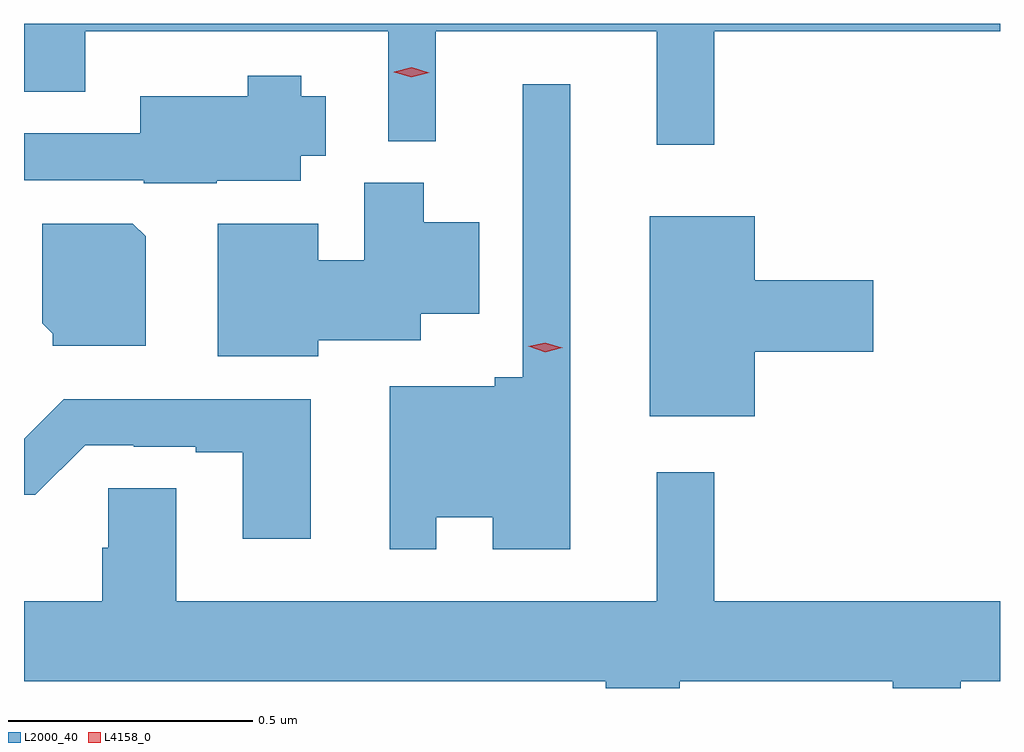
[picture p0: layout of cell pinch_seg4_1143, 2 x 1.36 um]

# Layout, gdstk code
import gdstk
lib = gdstk.Library(unit=1e-6, precision=1e-09)
def P(c, l, *ps):  # polygons
    for p in ps: c.add(gdstk.Polygon(p, *l))
L2000_40 = (2000, 40)
L4158_0 = (4158, 0)

pinch_seg4_1143 = lib.new_cell('pinch_seg4_1143')
P(pinch_seg4_1143, L2000_40, [(486.559,832.66),(486.685,832.66),(486.685,832.784),(487.305,832.784),(487.305,832.559),(487.403,832.559),(487.403,832.784),(487.856,832.784),(487.856,832.551),(487.973,832.551),(487.973,832.784),(488.559,832.784),(488.559,832.799),(486.559,832.799)],
  [(486.954,832.478),(487.126,832.478),(487.126,832.529),(487.177,832.529),(487.177,832.651),(487.127,832.651),(487.127,832.693),(487.017,832.693),(487.017,832.651),(486.797,832.651),(486.797,832.575),(486.559,832.575),(486.559,832.479),(486.804,832.479),(486.804,832.472),(486.954,832.472)],
  [(487.404,831.788),(487.52,831.788),(487.52,831.723),(487.678,831.723),(487.678,832.675),(487.581,832.675),(487.581,832.075),(487.524,832.075),(487.524,832.057),(487.308,832.057),(487.308,831.723),(487.404,831.723)],
  [(487.162,832.151),(487.372,832.151),(487.372,832.205),(487.492,832.205),(487.492,832.393),(487.378,832.393),(487.378,832.474),(487.256,832.474),(487.256,832.315),(487.162,832.315),(487.162,832.39),(486.956,832.39),(486.956,832.118),(487.162,832.118)],
  [(488.056,832.127),(488.299,832.127),(488.299,832.274),(488.056,832.274),(488.056,832.405),(487.841,832.405),(487.841,831.995),(488.056,831.995)],
  [(486.808,832.364),(486.782,832.39),(486.596,832.39),(486.596,832.186),(486.618,832.164),(486.618,832.139),(486.808,832.139)],
  [(487.147,832.03),(486.64,832.03),(486.559,831.949),(486.559,831.834),(486.582,831.834),(486.684,831.936),(486.784,831.936),(486.784,831.933),(486.911,831.933),(486.911,831.921),(487.007,831.921),(487.007,831.744),(487.147,831.744)],
  [(487.903,831.452),(488.339,831.452),(488.339,831.438),(488.479,831.438),(488.479,831.452),(488.559,831.452),(488.559,831.616),(487.973,831.616),(487.973,831.88),(487.856,831.88),(487.856,831.616),(486.871,831.616),(486.871,831.848),(486.732,831.848),(486.732,831.726),(486.719,831.726),(486.719,831.616),(486.559,831.616),(486.559,831.452),(487.751,831.452),(487.751,831.438),(487.903,831.438)])
P(pinch_seg4_1143, L4158_0, [(487.627,832.126),(487.592,832.138),(487.591,832.138),(487.592,832.138),(487.627,832.146),(487.662,832.135),(487.663,832.135),(487.662,832.135)],
  [(487.353,832.69),(487.318,832.7),(487.317,832.7),(487.318,832.701),(487.354,832.71),(487.389,832.699),(487.389,832.699),(487.389,832.699)])

lib.write_gds('pinch_seg4_1143.gds')
